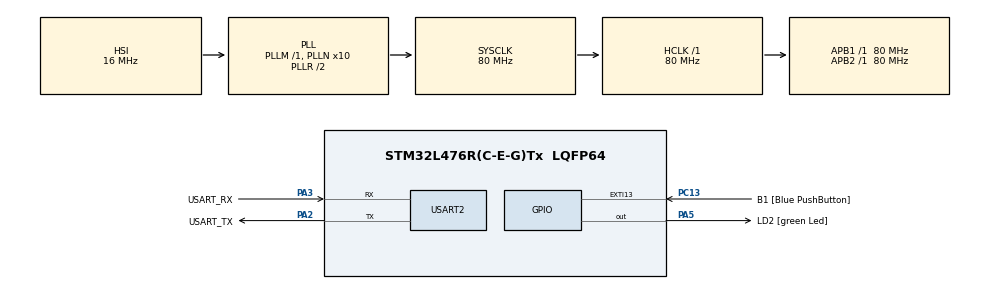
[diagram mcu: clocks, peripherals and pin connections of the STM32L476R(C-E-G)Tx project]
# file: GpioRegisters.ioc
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Mcu.Family=STM32L4
Mcu.Name=STM32L476R(C-E-G)Tx
Mcu.Package=LQFP64
NVIC.PriorityGroup=NVIC_PRIORITYGROUP_4
PA13\ (JTMS-SWDIO).GPIO_Label=TMS
PA13\ (JTMS-SWDIO).Mode=Serial_Wire
PA13\ (JTMS-SWDIO).Signal=SYS_JTMS-SWDIO
PA14\ (JTCK-SWCLK).GPIO_Label=TCK
PA14\ (JTCK-SWCLK).Mode=Serial_Wire
PA14\ (JTCK-SWCLK).Signal=SYS_JTCK-SWCLK
PA2.GPIO_Label=USART_TX
PA2.GPIO_Mode=GPIO_MODE_AF_PP
PA2.GPIO_PuPd=GPIO_NOPULL
PA2.GPIO_Speed=GPIO_SPEED_FREQ_VERY_HIGH
PA2.Mode=Asynchronous
PA2.Signal=USART2_TX
PA3.GPIO_Label=USART_RX
PA3.GPIO_Mode=GPIO_MODE_AF_PP
PA3.GPIO_PuPd=GPIO_NOPULL
PA3.GPIO_Speed=GPIO_SPEED_FREQ_VERY_HIGH
PA3.Mode=Asynchronous
PA3.Signal=USART2_RX
PA5.GPIO_Label=LD2 [green Led]
PA5.GPIO_ModeDefaultOutputPP=GPIO_MODE_OUTPUT_PP
PA5.GPIO_PuPd=GPIO_NOPULL
PA5.GPIO_Speed=GPIO_SPEED_FREQ_LOW
PA5.Signal=GPIO_Output
PB3\ (JTDO-TRACESWO).GPIO_Label=SWO
PB3\ (JTDO-TRACESWO).Signal=SYS_JTDO-SWO
PC13.GPIO_Label=B1 [Blue PushButton]
PC13.GPIO_ModeDefaultEXTI=GPIO_MODE_IT_FALLING
PC13.GPIO_PuPd=GPIO_NOPULL
PC13.Signal=GPXTI13
PC14-OSC32_IN\ (PC14).Mode=LSE-External-Oscillator
PC14-OSC32_IN\ (PC14).Signal=RCC_OSC32_IN
PC15-OSC32_OUT\ (PC15).Mode=LSE-External-Oscillator
PC15-OSC32_OUT\ (PC15).Signal=RCC_OSC32_OUT
PH0-OSC_IN\ (PH0).Signal=RCC_OSC_IN
PH1-OSC_OUT\ (PH1).Signal=RCC_OSC_OUT
ProjectManager.HeapSize=0x200
ProjectManager.StackSize=0x400
ProjectManager.TargetToolchain=STM32CubeIDE
RCC.ADCFreq_Value=64000000
RCC.AHBFreq_Value=80000000
RCC.APB1Freq_Value=80000000
RCC.APB1TimFreq_Value=80000000
RCC.APB2Freq_Value=80000000
RCC.APB2TimFreq_Value=80000000
RCC.CortexFreq_Value=80000000
RCC.HCLKFreq_Value=80000000
RCC.HSE_VALUE=8000000
RCC.HSI_VALUE=16000000
RCC.MSI_VALUE=4000000
RCC.PLLN=10
RCC.PLLSourceVirtual=RCC_PLLSOURCE_HSI
RCC.PREFETCH_ENABLE=1
RCC.SYSCLKFreq_VALUE=80000000
RCC.SYSCLKSource=RCC_SYSCLKSOURCE_PLLCLK
RCC.USBFreq_Value=64000000
RCC.VCOOutputFreq_Value=160000000
USART2.VirtualMode-Asynchronous=VM_ASYNC
board=NUCLEO-L476RG

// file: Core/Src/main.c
/* USER CODE BEGIN Header */
/**
  ******************************************************************************
  * @file           : main.c
  * @brief          : Main program body
  ******************************************************************************
  * @attention
  *
  * Copyright (c) 2022 STMicroelectronics.
  * All rights reserved.
  *
  * This software is licensed under terms that can be found in the LICENSE file
  * in the root directory of this software component.
  * If no LICENSE file comes with this software, it is provided AS-IS.
  *
  ******************************************************************************
  */
/* USER CODE END Header */
#include "main.h"

/* USER CODE BEGIN Includes */
#include <stdio.h>

/* USER CODE END Includes */

 UART_HandleTypeDef huart2;

/* USER CODE BEGIN PV */
 uint32_t * gpioa = (uint32_t *)(0x48000000); // all the PA* in the chip
 uint32_t * rcc = (uint32_t *)(0x40021000); // clock
 uint32_t * tim6 = (uint32_t *)(0x40001000); // timer
/* USER CODE END PV */

void SystemClock_Config(void);
static void MX_GPIO_Init(void);
static void MX_USART2_UART_Init(void);

/* USER CODE BEGIN 0 */
int _write(int fd, char* ptr, int len)
{
	HAL_UART_Transmit(&huart2, (uint8_t*)ptr, len, HAL_MAX_DELAY);
	return len;
}

void TIM6_DAC_IRQHandler(){
	tim6[4] = 0;
	printf("interrupt\r\n");
}
/* USER CODE END 0 */

int main(void)
{

  /* MCU Configuration--------------------------------------------------------*/

  /* Reset of all peripherals, Initializes the Flash interface and the Systick. */
  HAL_Init();

  /* Configure the system clock */
  SystemClock_Config();

  /* Initialize all configured peripherals */
  MX_GPIO_Init();
  MX_USART2_UART_Init();
  /* USER CODE BEGIN 2 */

  HAL_NVIC_EnableIRQ(TIM6_DAC_IRQn);

  // Mask
  uint32_t bit4Mask = (1<<4); // move the bit 1 - 4 steps left
  uint32_t bit6Mask = (1<<6); // move the bit 1 - 6 steps left
  uint32_t bit10Mask = (1<<10); // move the bit 1 - 10 steps left
  uint32_t bit12Mask = (1<<12); // move the bit 1 - 12 steps left

  uint32_t mode5Mask = (3<<10); // move the bits 11 - 10 steps left
  uint32_t mode6Mask = (3<<12); // move the bits 11 - 12 steps left
  uint32_t mode10Mask = (3<<20); // move the bits 11 - 20 steps left

  //define the Moder
  gpioa[0] &= ~mode10Mask; // set the bits in places 20-21 to 00 (~ = NOT). (MODER - input)
  gpioa[0] = (gpioa[0] & ~mode6Mask) | bit12Mask; // set the bits in places 12-13 to 01. (MODER - output)

  // attaching clock
  rcc[19] |= 1; // attach gpioA to clock. (RCC)
  rcc[22] |= bit4Mask; // attach TIM6 to clock. (RCC)

  // define the timer
  tim6[0] |= 1; // enable the timer (CR1)
  tim6[3] |= 1; // enable interrupt(DIER)
  tim6[5] |= 1; // re-initializes the timer counter (EGR)
  tim6[10] = 7999; // prescaler (PSC)
  tim6[11] = 9999; // auto reload register (ARR)

  /* USER CODE END 2 */

  /* Infinite loop */
  while (1)
  {

    /* USER CODE BEGIN 3 */

	  //Timer 6
//	  if(tim6[4] != 0){
//		  tim6[4] = 0;
//		  printf("tik\r\n");
//	  }

	  //GPIO button and LED
//	  if((gpioa[4] & bit10Mask) == 0){
//		  //printf("0\r\n");
//		  gpioa[6] |= bit6Mask; // turn on the led
//	  }
//	  else{
//		  //printf("1\r\n");
//		  gpioa[6] |= (bit6Mask << 16); // turn off the led
//	  }
  }
  /* USER CODE END 3 */
}

void SystemClock_Config(void)
{
  RCC_OscInitTypeDef RCC_OscInitStruct = {0};
  RCC_ClkInitTypeDef RCC_ClkInitStruct = {0};

  /** Configure the main internal regulator output voltage
  */
  if (HAL_PWREx_ControlVoltageScaling(PWR_REGULATOR_VOLTAGE_SCALE1) != HAL_OK)
  {
    Error_Handler();
  }

  /** Initializes the RCC Oscillators according to the specified parameters
  * in the RCC_OscInitTypeDef structure.
  */
  RCC_OscInitStruct.OscillatorType = RCC_OSCILLATORTYPE_HSI;
  RCC_OscInitStruct.HSIState = RCC_HSI_ON;
  RCC_OscInitStruct.HSICalibrationValue = RCC_HSICALIBRATION_DEFAULT;
  RCC_OscInitStruct.PLL.PLLState = RCC_PLL_ON;
  RCC_OscInitStruct.PLL.PLLSource = RCC_PLLSOURCE_HSI;
  RCC_OscInitStruct.PLL.PLLM = 1;
  RCC_OscInitStruct.PLL.PLLN = 10;
  RCC_OscInitStruct.PLL.PLLP = RCC_PLLP_DIV7;
  RCC_OscInitStruct.PLL.PLLQ = RCC_PLLQ_DIV2;
  RCC_OscInitStruct.PLL.PLLR = RCC_PLLR_DIV2;
  if (HAL_RCC_OscConfig(&RCC_OscInitStruct) != HAL_OK)
  {
    Error_Handler();
  }

  /** Initializes the CPU, AHB and APB buses clocks
  */
  RCC_ClkInitStruct.ClockType = RCC_CLOCKTYPE_HCLK|RCC_CLOCKTYPE_SYSCLK
                              |RCC_CLOCKTYPE_PCLK1|RCC_CLOCKTYPE_PCLK2;
  RCC_ClkInitStruct.SYSCLKSource = RCC_SYSCLKSOURCE_PLLCLK;
  RCC_ClkInitStruct.AHBCLKDivider = RCC_SYSCLK_DIV1;
  RCC_ClkInitStruct.APB1CLKDivider = RCC_HCLK_DIV1;
  RCC_ClkInitStruct.APB2CLKDivider = RCC_HCLK_DIV1;

  if (HAL_RCC_ClockConfig(&RCC_ClkInitStruct, FLASH_LATENCY_4) != HAL_OK)
  {
    Error_Handler();
  }
}

static void MX_USART2_UART_Init(void)
{

  huart2.Instance = USART2;
  huart2.Init.BaudRate = 115200;
  huart2.Init.WordLength = UART_WORDLENGTH_8B;
  huart2.Init.StopBits = UART_STOPBITS_1;
  huart2.Init.Parity = UART_PARITY_NONE;
  huart2.Init.Mode = UART_MODE_TX_RX;
  huart2.Init.HwFlowCtl = UART_HWCONTROL_NONE;
  huart2.Init.OverSampling = UART_OVERSAMPLING_16;
  huart2.Init.OneBitSampling = UART_ONE_BIT_SAMPLE_DISABLE;
  huart2.AdvancedInit.AdvFeatureInit = UART_ADVFEATURE_NO_INIT;
  if (HAL_UART_Init(&huart2) != HAL_OK)
  {
    Error_Handler();
  }

}

static void MX_GPIO_Init(void)
{
  GPIO_InitTypeDef GPIO_InitStruct = {0};

  /* GPIO Ports Clock Enable */
  __HAL_RCC_GPIOC_CLK_ENABLE();
  __HAL_RCC_GPIOH_CLK_ENABLE();
  __HAL_RCC_GPIOA_CLK_ENABLE();
  __HAL_RCC_GPIOB_CLK_ENABLE();

  /*Configure GPIO pin Output Level */
  HAL_GPIO_WritePin(LD2_GPIO_Port, LD2_Pin, GPIO_PIN_RESET);

  /*Configure GPIO pin : B1_Pin */
  GPIO_InitStruct.Pin = B1_Pin;
  GPIO_InitStruct.Mode = GPIO_MODE_IT_FALLING;
  GPIO_InitStruct.Pull = GPIO_NOPULL;
  HAL_GPIO_Init(B1_GPIO_Port, &GPIO_InitStruct);

  /*Configure GPIO pin : LD2_Pin */
  GPIO_InitStruct.Pin = LD2_Pin;
  GPIO_InitStruct.Mode = GPIO_MODE_OUTPUT_PP;
  GPIO_InitStruct.Pull = GPIO_NOPULL;
  GPIO_InitStruct.Speed = GPIO_SPEED_FREQ_LOW;
  HAL_GPIO_Init(LD2_GPIO_Port, &GPIO_InitStruct);

}

void Error_Handler(void)
{
  __disable_irq();
  while (1)
  {
  }
}
